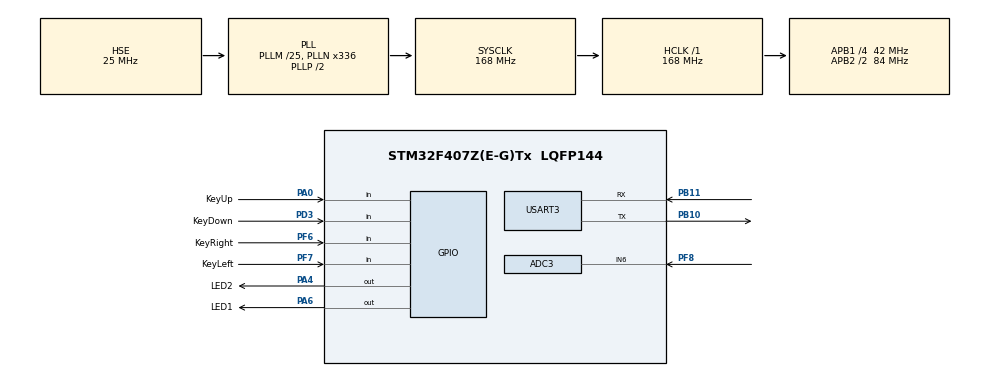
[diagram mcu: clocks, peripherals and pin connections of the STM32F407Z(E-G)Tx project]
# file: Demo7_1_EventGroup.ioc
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ADC3.Channel-0\#ChannelRegularConversion=ADC_CHANNEL_6
ADC3.NbrOfConversionFlag=1
ADC3.Rank-0\#ChannelRegularConversion=1
ADC3.SamplingTime-0\#ChannelRegularConversion=ADC_SAMPLETIME_15CYCLES
FREERTOS.Events01=myEvent01,Dynamic,NULL
FREERTOS.Tasks01=Task_ADC,24,256,AppTask_ADC,Default,NULL,Dynamic,NULL,NULL;Task_LED,16,128,AppTask_LED,Default,NULL,Dynamic,NULL,NULL;Task_ScanKeys,32,128,AppTask_ScanKeys,Default,NULL,Dynamic,NULL,NULL
FREERTOS.configUSE_NEWLIB_REENTRANT=1
Mcu.Family=STM32F4
Mcu.Name=STM32F407Z(E-G)Tx
Mcu.Package=LQFP144
NVIC.PriorityGroup=NVIC_PRIORITYGROUP_4
NVIC.TIM6_DAC_IRQn=true\:15\:0\:false\:false\:true\:false\:false\:true\:true
NVIC.TimeBase=TIM6_DAC_IRQn
NVIC.TimeBaseIP=TIM6
PA0-WKUP.GPIO_Label=KeyUp
PA0-WKUP.GPIO_PuPd=GPIO_PULLUP
PA0-WKUP.Signal=GPIO_Input
PA13.Mode=Serial_Wire
PA13.Signal=SYS_JTMS-SWDIO
PA14.Mode=Serial_Wire
PA14.Signal=SYS_JTCK-SWCLK
PA4.GPIO_Label=LED2
PA4.GPIO_Speed=GPIO_SPEED_FREQ_HIGH
PA4.PinState=GPIO_PIN_SET
PA4.Signal=GPIO_Output
PA6.GPIO_Label=LED1
PA6.GPIO_Speed=GPIO_SPEED_FREQ_HIGH
PA6.PinState=GPIO_PIN_SET
PA6.Signal=GPIO_Output
PB10.Mode=Asynchronous
PB10.Signal=USART3_TX
PB11.Mode=Asynchronous
PB11.Signal=USART3_RX
PD3.GPIO_Label=KeyDown
PD3.GPIO_PuPd=GPIO_PULLUP
PD3.Signal=GPIO_Input
PF6.GPIO_Label=KeyRight
PF6.GPIO_PuPd=GPIO_PULLUP
PF6.Signal=GPIO_Input
PF7.GPIO_Label=KeyLeft
PF7.GPIO_PuPd=GPIO_PULLUP
PF7.Signal=GPIO_Input
PF8.Mode=IN6
PF8.Signal=ADC3_IN6
PH0-OSC_IN.Mode=HSE-External-Oscillator
PH0-OSC_IN.Signal=RCC_OSC_IN
PH1-OSC_OUT.Mode=HSE-External-Oscillator
PH1-OSC_OUT.Signal=RCC_OSC_OUT
ProjectManager.HeapSize=0x200
ProjectManager.StackSize=0x400
ProjectManager.TargetToolchain=STM32CubeIDE
RCC.48MHZClocksFreq_Value=84000000
RCC.AHBFreq_Value=168000000
RCC.APB1CLKDivider=RCC_HCLK_DIV4
RCC.APB1Freq_Value=42000000
RCC.APB1TimFreq_Value=84000000
RCC.APB2CLKDivider=RCC_HCLK_DIV2
RCC.APB2Freq_Value=84000000
RCC.APB2TimFreq_Value=168000000
RCC.CortexFreq_Value=168000000
RCC.HCLKFreq_Value=168000000
RCC.HSE_VALUE=25000000
RCC.HSI_VALUE=16000000
RCC.LSE_VALUE=32768
RCC.PLLM=25
RCC.PLLN=336
RCC.PLLSourceVirtual=RCC_PLLSOURCE_HSE
RCC.SYSCLKFreq_VALUE=168000000
RCC.SYSCLKSource=RCC_SYSCLKSOURCE_PLLCLK
RCC.VCOOutputFreq_Value=336000000
USART3.VirtualMode=VM_ASYNC
VP_FREERTOS_VS_CMSIS_V2.Mode=CMSIS_V2
VP_SYS_VS_tim6.Mode=TIM6
board=custom

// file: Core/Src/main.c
/* USER CODE BEGIN Header */
/**
  ******************************************************************************
  * @file           : main.c
  * @brief          : Main program body
  ******************************************************************************
  * @attention
  *
  * Copyright (c) 2025 STMicroelectronics.
  * All rights reserved.
  *
  * This software is licensed under terms that can be found in the LICENSE file
  * in the root directory of this software component.
  * If no LICENSE file comes with this software, it is provided AS-IS.
  *
  ******************************************************************************
  */
/* USER CODE END Header */
#include "main.h"
#include "cmsis_os.h"
#include "adc.h"
#include "usart.h"
#include "gpio.h"

void SystemClock_Config(void);
void MX_FREERTOS_Init(void);

int main(void)
{

  /* MCU Configuration--------------------------------------------------------*/

  /* Reset of all peripherals, Initializes the Flash interface and the Systick. */
  HAL_Init();

  /* Configure the system clock */
  SystemClock_Config();

  /* Initialize all configured peripherals */
  MX_GPIO_Init();
  MX_USART3_UART_Init();
  MX_ADC3_Init();
  /* USER CODE BEGIN 2 */
  // Start Menu
  uint8_t startstr[] = "Demo7_1: Using Event Group.\r\n";
  HAL_UART_Transmit(&huart3,startstr,sizeof(startstr),0xFFFF);

  uint8_t startstr1[] = "1. Press KeyLeft and KeyRight to activate ADC converter and LED1.\r\n";
  HAL_UART_Transmit(&huart3,startstr1,sizeof(startstr1),0xFFFF);

  uint8_t startstr2[] = "2. Press KeyDown to clear events.\r\n\r\n";
  HAL_UART_Transmit(&huart3,startstr2,sizeof(startstr2),0xFFFF);

  /* USER CODE END 2 */

  /* Init scheduler */
  osKernelInitialize();

  /* Call init function for freertos objects (in cmsis_os2.c) */
  MX_FREERTOS_Init();

  /* Start scheduler */
  osKernelStart();

  /* We should never get here as control is now taken by the scheduler */

  /* Infinite loop */
  while (1)
  {

  }
}

void SystemClock_Config(void)
{
  RCC_OscInitTypeDef RCC_OscInitStruct = {0};
  RCC_ClkInitTypeDef RCC_ClkInitStruct = {0};

  /** Configure the main internal regulator output voltage
  */
  __HAL_RCC_PWR_CLK_ENABLE();
  __HAL_PWR_VOLTAGESCALING_CONFIG(PWR_REGULATOR_VOLTAGE_SCALE1);

  /** Initializes the RCC Oscillators according to the specified parameters
  * in the RCC_OscInitTypeDef structure.
  */
  RCC_OscInitStruct.OscillatorType = RCC_OSCILLATORTYPE_HSE;
  RCC_OscInitStruct.HSEState = RCC_HSE_ON;
  RCC_OscInitStruct.PLL.PLLState = RCC_PLL_ON;
  RCC_OscInitStruct.PLL.PLLSource = RCC_PLLSOURCE_HSE;
  RCC_OscInitStruct.PLL.PLLM = 25;
  RCC_OscInitStruct.PLL.PLLN = 336;
  RCC_OscInitStruct.PLL.PLLP = RCC_PLLP_DIV2;
  RCC_OscInitStruct.PLL.PLLQ = 4;
  if (HAL_RCC_OscConfig(&RCC_OscInitStruct) != HAL_OK)
  {
    Error_Handler();
  }

  /** Initializes the CPU, AHB and APB buses clocks
  */
  RCC_ClkInitStruct.ClockType = RCC_CLOCKTYPE_HCLK|RCC_CLOCKTYPE_SYSCLK
                              |RCC_CLOCKTYPE_PCLK1|RCC_CLOCKTYPE_PCLK2;
  RCC_ClkInitStruct.SYSCLKSource = RCC_SYSCLKSOURCE_PLLCLK;
  RCC_ClkInitStruct.AHBCLKDivider = RCC_SYSCLK_DIV1;
  RCC_ClkInitStruct.APB1CLKDivider = RCC_HCLK_DIV4;
  RCC_ClkInitStruct.APB2CLKDivider = RCC_HCLK_DIV2;

  if (HAL_RCC_ClockConfig(&RCC_ClkInitStruct, FLASH_LATENCY_5) != HAL_OK)
  {
    Error_Handler();
  }
}

void HAL_TIM_PeriodElapsedCallback(TIM_HandleTypeDef *htim)
{
  if (htim->Instance == TIM6)
  {
    HAL_IncTick();
  }
}

void Error_Handler(void)
{
  __disable_irq();
  while (1)
  {
  }
}

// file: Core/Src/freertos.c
/* USER CODE BEGIN Header */
/**
  ******************************************************************************
  * File Name          : freertos.c
  * Description        : Code for freertos applications
  ******************************************************************************
  * @attention
  *
  * Copyright (c) 2025 STMicroelectronics.
  * All rights reserved.
  *
  * This software is licensed under terms that can be found in the LICENSE file
  * in the root directory of this software component.
  * If no LICENSE file comes with this software, it is provided AS-IS.
  *
  ******************************************************************************
  */
/* USER CODE END Header */

#include "FreeRTOS.h"
#include "task.h"
#include "main.h"
#include "cmsis_os.h"

/* USER CODE BEGIN Includes */
#include <stdio.h>
#include "usart.h"
#include "adc.h"
#include "event_groups.h"		//事件组相关头文件
#include "keyled.h"
/* USER CODE END Includes */

/* USER CODE BEGIN PD */
#define  BITMASK_KEY_LEFT			0x04		//KeyLeft的事件位掩码，使用Bit2
#define  BITMASK_KEY_RIGHT		0x01		//KeyRight的事件位掩码，使用Bit0
/* USER CODE END PD */

/* Definitions for Task_ADC */
osThreadId_t Task_ADCHandle;
const osThreadAttr_t Task_ADC_attributes = {
  .name = "Task_ADC",
  .stack_size = 256 * 4,
  .priority = (osPriority_t) osPriorityNormal,
};
/* Definitions for Task_LED */
osThreadId_t Task_LEDHandle;
const osThreadAttr_t Task_LED_attributes = {
  .name = "Task_LED",
  .stack_size = 128 * 4,
  .priority = (osPriority_t) osPriorityBelowNormal,
};
/* Definitions for Task_ScanKeys */
osThreadId_t Task_ScanKeysHandle;
const osThreadAttr_t Task_ScanKeys_attributes = {
  .name = "Task_ScanKeys",
  .stack_size = 128 * 4,
  .priority = (osPriority_t) osPriorityAboveNormal,
};
/* Definitions for myEvent01 */
osEventFlagsId_t myEvent01Handle;
const osEventFlagsAttr_t myEvent01_attributes = {
  .name = "myEvent01"
};

void AppTask_ADC(void *argument);
void AppTask_LED(void *argument);
void AppTask_ScanKeys(void *argument);

void MX_FREERTOS_Init(void); /* (MISRA C 2004 rule 8.1) */

void MX_FREERTOS_Init(void) {

  /* Create the thread(s) */
  /* creation of Task_ADC */
  Task_ADCHandle = osThreadNew(AppTask_ADC, NULL, &Task_ADC_attributes);

  /* creation of Task_LED */
  Task_LEDHandle = osThreadNew(AppTask_LED, NULL, &Task_LED_attributes);

  /* creation of Task_ScanKeys */
  Task_ScanKeysHandle = osThreadNew(AppTask_ScanKeys, NULL, &Task_ScanKeys_attributes);

  /* Create the event(s) */
  /* creation of myEvent01 */
  myEvent01Handle = osEventFlagsNew(&myEvent01_attributes);

}

void AppTask_ADC(void *argument)
{
  /* USER CODE BEGIN AppTask_ADC */
  /* Infinite loop */
	BaseType_t clearOnExit=pdTRUE;			//pdTRUE=退出时清除事件位
	BaseType_t waitForAllBits=pdTRUE;		//等待所有位置1，pdTRUE=逻辑与, pdFALSE=逻辑或
	EventBits_t bitsToWait=BITMASK_KEY_LEFT | BITMASK_KEY_RIGHT;  //Press the left and right buttons at the same time.
	for(;;)
	{
		xEventGroupWaitBits(myEvent01Handle, bitsToWait,
				clearOnExit,waitForAllBits,portMAX_DELAY );
		for(uint8_t i=0; i<10; i++)
		{
			HAL_ADC_Start(&hadc3);			//必须每次启动时convert
			if (HAL_ADC_PollForConversion(&hadc3,200)==HAL_OK)
			{
			  	// Data in the format of uint32_t cannot be sent through HAL_UART_Transmit(),
				// because this function can only send byte data in the format of uint8_t.
			  	uint32_t val = HAL_ADC_GetValue(&hadc3);
			  	printf("Data in ADC3_IN6 = %ld\r\n",val);

			  	// Convert the ADC3 sampling value to the engineering value
			  	// and then transmit it to the serial port through printf().
				uint32_t Volt = 3300*val;  		//mV
			  	Volt = Volt >> 12;  				//除以2^12，转换为工程值
			  	printf("Engineering Value = %ld\r\n",Volt );
			}
			HAL_ADC_Stop(&hadc3);			//可停止也可不停止
			vTaskDelay(pdMS_TO_TICKS(500));
		}
	}
  /* USER CODE END AppTask_ADC */
}

/* USER CODE BEGIN Header_AppTask_LED */
/**
* @brief Function implementing the Task_LED thread.
* 2 key pressed,LED1 shine 10 times。
* @param argument: Not used
* @retval None
*/
/* USER CODE END Header_AppTask_LED */
void AppTask_LED(void *argument)
{
  /* USER CODE BEGIN AppTask_LED */
  /* Infinite loop */
	BaseType_t clearOnExit=pdTRUE;		//pdTRUE=退出时清除事件位
	BaseType_t waitForAllBits=pdTRUE;	//等待所有位置1，pdTRUE=逻辑与, pdFALSE=逻辑或
	EventBits_t bitsToWait=BITMASK_KEY_LEFT | BITMASK_KEY_RIGHT;  //等待的事件位
	for(;;)
	{
		xEventGroupWaitBits(myEvent01Handle, bitsToWait,
				clearOnExit,waitForAllBits,portMAX_DELAY );
		for(uint8_t i=0; i<10; i++)  		//使LED1闪烁几次
		{
			LED1_Toggle();
			vTaskDelay(pdMS_TO_TICKS(500));
		}
	}
  /* USER CODE END AppTask_LED */
}

void AppTask_ScanKeys(void *argument)
{
  /* USER CODE BEGIN AppTask_ScanKeys */
  /* Infinite loop */

	KEYS  keyCode = KEY_NONE;
	for(;;)
	{
		EventBits_t curBits=xEventGroupGetBits(myEvent01Handle);	//读取事件组当前值
		printf("Current event bits = %ld\r\n",curBits);

		keyCode=ScanPressedKey(50);	//最多等待50ms，不能使用参数KEY_WAIT_ALWAYS
		switch (keyCode)
		{
			case	KEY_LEFT:		//Press S4 to set bit2 to 1.
				xEventGroupSetBits(myEvent01Handle, BITMASK_KEY_LEFT);		//事件位Bit2置位
				break;

			case	KEY_RIGHT:	//Press S5 to set bit2 to 1.
				xEventGroupSetBits(myEvent01Handle, BITMASK_KEY_RIGHT);	//事件位Bit0置位
				break;

			case	KEY_DOWN:	//press S3 to reset all bits.
				xEventGroupClearBits(myEvent01Handle,BITMASK_KEY_LEFT | BITMASK_KEY_RIGHT);	//两个事件位都清零

			default:
				break;
		}

		if (keyCode == KEY_NONE)
			vTaskDelay(50);		//未按下任何按键，延时不能太长，否则按键响应慢
		else
			vTaskDelay(300);	//消除按键后抖动影响，也用于事件调度
	}
  /* USER CODE END AppTask_ScanKeys */
}

/* USER CODE BEGIN Application */
int __io_putchar(int ch)
{
	HAL_UART_Transmit(&huart3,(uint8_t*)&ch,1,0xFFFF);
	return ch;
}
/* USER CODE END Application */
